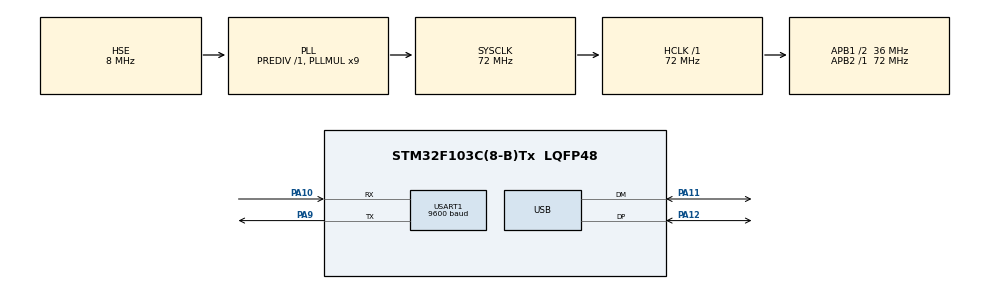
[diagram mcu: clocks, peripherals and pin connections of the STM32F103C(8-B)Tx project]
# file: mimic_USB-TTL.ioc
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Mcu.Family=STM32F1
Mcu.Name=STM32F103C(8-B)Tx
Mcu.Package=LQFP48
NVIC.PriorityGroup=NVIC_PRIORITYGROUP_4
NVIC.USB_LP_CAN1_RX0_IRQn=true\:0\:0\:false\:false\:true\:false\:true\:true
PA10.Mode=Asynchronous
PA10.Signal=USART1_RX
PA11.Mode=Device
PA11.Signal=USB_DM
PA12.Mode=Device
PA12.Signal=USB_DP
PA13.Mode=Serial_Wire
PA13.Signal=SYS_JTMS-SWDIO
PA14.Mode=Serial_Wire
PA14.Signal=SYS_JTCK-SWCLK
PA9.Mode=Asynchronous
PA9.Signal=USART1_TX
PD0-OSC_IN.Mode=HSE-External-Oscillator
PD0-OSC_IN.Signal=RCC_OSC_IN
PD1-OSC_OUT.Mode=HSE-External-Oscillator
PD1-OSC_OUT.Signal=RCC_OSC_OUT
ProjectManager.HeapSize=0x200
ProjectManager.StackSize=0x400
ProjectManager.TargetToolchain=STM32CubeIDE
RCC.AHBFreq_Value=72000000
RCC.APB1CLKDivider=RCC_HCLK_DIV2
RCC.APB1Freq_Value=36000000
RCC.APB1TimFreq_Value=72000000
RCC.APB2Freq_Value=72000000
RCC.APB2TimFreq_Value=72000000
RCC.HCLKFreq_Value=72000000
RCC.PLLMUL=RCC_PLL_MUL9
RCC.SYSCLKFreq_VALUE=72000000
RCC.SYSCLKSource=RCC_SYSCLKSOURCE_PLLCLK
RCC.USBFreq_Value=48000000
RCC.USBPrescaler=RCC_USBCLKSOURCE_PLL_DIV1_5
USART1.BaudRate=9600
USART1.VirtualMode=VM_ASYNC
USB_DEVICE.CLASS_NAME_FS=CDC
USB_DEVICE.VirtualMode=Cdc
USB_DEVICE.VirtualModeFS=Cdc_FS
VP_USB_DEVICE_VS_USB_DEVICE_CDC_FS.Mode=CDC_FS
board=custom

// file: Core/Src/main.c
/* USER CODE BEGIN Header */
/**
  ******************************************************************************
  * @file           : main.c
  * @brief          : Main program body
  ******************************************************************************
  * @attention
  *
  * Copyright (c) 2026 STMicroelectronics.
  * All rights reserved.
  *
  * This software is licensed under terms that can be found in the LICENSE file
  * in the root directory of this software component.
  * If no LICENSE file comes with this software, it is provided AS-IS.
  *
  ******************************************************************************
  */
/* USER CODE END Header */
#include "main.h"
#include "usb_device.h"

/* USER CODE BEGIN Includes */
#include <string.h>
#include <stdio.h>
/* USER CODE END Includes */

UART_HandleTypeDef huart1;

void SystemClock_Config(void);
static void MX_USART1_UART_Init(void);

/* USER CODE BEGIN 0 */

// Відправка команди з обов'язковим \r\n
static void hc05_send(const char *cmd)
{
    char buf[64];
    snprintf(buf, sizeof(buf), "%s\r\n", cmd);
    HAL_UART_Transmit(&huart1, (uint8_t *)buf, strlen(buf), 500);
}

// Читання відповіді, поки модуль не замовкне (таймаут 100 мс між байтами)
static uint16_t hc05_read(char *out, uint16_t maxlen)
{
    uint16_t n = 0;
    uint8_t c;
    while (n < maxlen - 1 &&
           HAL_UART_Receive(&huart1, &c, 1, 100) == HAL_OK) {
        out[n++] = c;
    }
    out[n] = '\0';
    return n;
}
/* USER CODE END 0 */

int main(void)
{

  /* MCU Configuration--------------------------------------------------------*/

  /* Reset of all peripherals, Initializes the Flash interface and the Systick. */
  HAL_Init();

  /* Configure the system clock */
  SystemClock_Config();

  /* Initialize all configured peripherals */
  MX_USART1_UART_Init();
  MX_USB_DEVICE_Init();
  /* USER CODE BEGIN 2 */

// У main():
char resp[128];

HAL_Delay(1000);                        // модуль має піднятись

hc05_send("AT");                        // очікуємо "OK"
hc05_read(resp, sizeof(resp));

hc05_send("AT+VERSION?");               // перевірка версії прошивки
hc05_read(resp, sizeof(resp));

hc05_send("AT+NAME=STM32_BT");          // ім'я пристрою
hc05_read(resp, sizeof(resp));

hc05_send("AT+PSWD=1234");              // PIN-код
hc05_read(resp, sizeof(resp));

//hc05_send("AT+UART?");
hc05_send("AT+UART=9600,0,0");        // робоча швидкість: 115200, 1 стоп-біт, без парності
hc05_read(resp, sizeof(resp));

hc05_send("AT+RESET");
hc05_read(resp, sizeof(resp));
  /* USER CODE END 2 */

  /* Infinite loop */
  while (1)
  {

  }
}

void SystemClock_Config(void)
{
  RCC_OscInitTypeDef RCC_OscInitStruct = {0};
  RCC_ClkInitTypeDef RCC_ClkInitStruct = {0};
  RCC_PeriphCLKInitTypeDef PeriphClkInit = {0};

  /** Initializes the RCC Oscillators according to the specified parameters
  * in the RCC_OscInitTypeDef structure.
  */
  RCC_OscInitStruct.OscillatorType = RCC_OSCILLATORTYPE_HSE;
  RCC_OscInitStruct.HSEState = RCC_HSE_ON;
  RCC_OscInitStruct.HSEPredivValue = RCC_HSE_PREDIV_DIV1;
  RCC_OscInitStruct.HSIState = RCC_HSI_ON;
  RCC_OscInitStruct.PLL.PLLState = RCC_PLL_ON;
  RCC_OscInitStruct.PLL.PLLSource = RCC_PLLSOURCE_HSE;
  RCC_OscInitStruct.PLL.PLLMUL = RCC_PLL_MUL9;
  if (HAL_RCC_OscConfig(&RCC_OscInitStruct) != HAL_OK)
  {
    Error_Handler();
  }

  /** Initializes the CPU, AHB and APB buses clocks
  */
  RCC_ClkInitStruct.ClockType = RCC_CLOCKTYPE_HCLK|RCC_CLOCKTYPE_SYSCLK
                              |RCC_CLOCKTYPE_PCLK1|RCC_CLOCKTYPE_PCLK2;
  RCC_ClkInitStruct.SYSCLKSource = RCC_SYSCLKSOURCE_PLLCLK;
  RCC_ClkInitStruct.AHBCLKDivider = RCC_SYSCLK_DIV1;
  RCC_ClkInitStruct.APB1CLKDivider = RCC_HCLK_DIV2;
  RCC_ClkInitStruct.APB2CLKDivider = RCC_HCLK_DIV1;

  if (HAL_RCC_ClockConfig(&RCC_ClkInitStruct, FLASH_LATENCY_2) != HAL_OK)
  {
    Error_Handler();
  }
  PeriphClkInit.PeriphClockSelection = RCC_PERIPHCLK_USB;
  PeriphClkInit.UsbClockSelection = RCC_USBCLKSOURCE_PLL_DIV1_5;
  if (HAL_RCCEx_PeriphCLKConfig(&PeriphClkInit) != HAL_OK)
  {
    Error_Handler();
  }
}

static void MX_USART1_UART_Init(void)
{

  huart1.Instance = USART1;
  huart1.Init.BaudRate = 9600;
  huart1.Init.WordLength = UART_WORDLENGTH_8B;
  huart1.Init.StopBits = UART_STOPBITS_1;
  huart1.Init.Parity = UART_PARITY_NONE;
  huart1.Init.Mode = UART_MODE_TX_RX;
  huart1.Init.HwFlowCtl = UART_HWCONTROL_NONE;
  huart1.Init.OverSampling = UART_OVERSAMPLING_16;
  if (HAL_UART_Init(&huart1) != HAL_OK)
  {
    Error_Handler();
  }

}

/* USER CODE BEGIN 4 */
int _write(int file, char *ptr, int len)
  {
    for (int i = 0; i < len; i++)
      ITM_SendChar(ptr[i]);
    return len;
  }
/* USER CODE END 4 */

void Error_Handler(void)
{
  __disable_irq();
  while (1)
  {
  }
}
